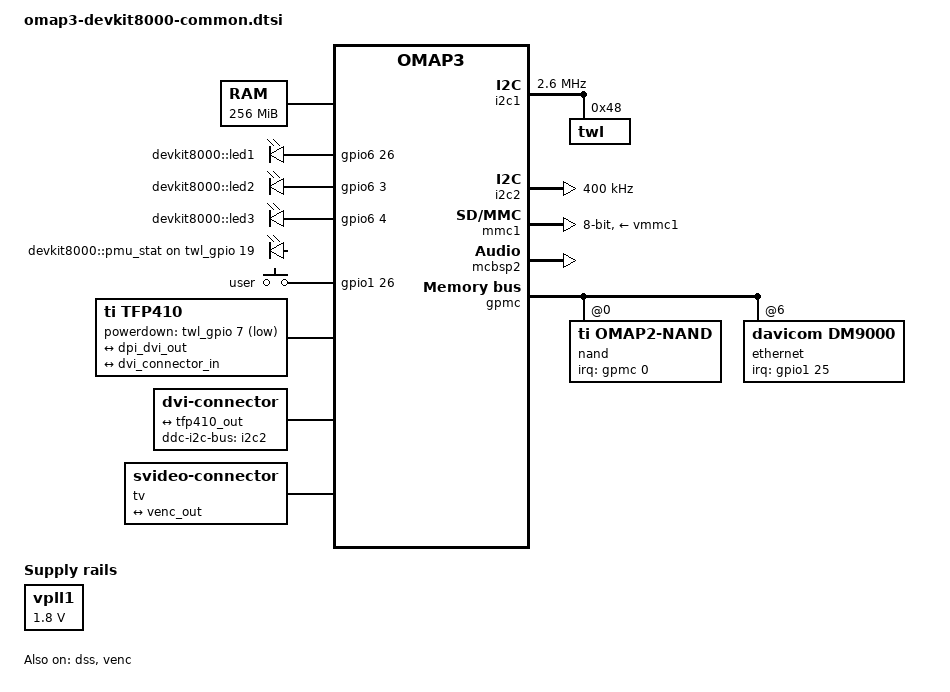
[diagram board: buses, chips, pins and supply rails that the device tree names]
// SPDX-License-Identifier: GPL-2.0-only
/*
 * Author: Anil Kumar <anilk4.v@gmail.com>
 */

#include <dt-bindings/input/input.h>

#include "omap34xx.dtsi"
/ {
	memory@80000000 {
		device_type = "memory";
		reg = <0x80000000 0x10000000>;	/* 256 MB */
	};

	leds {
		compatible = "gpio-leds";

		heartbeat {
			label = "devkit8000::led1";
			gpios = <&gpio6 26 GPIO_ACTIVE_HIGH>;	/* 186 -> LED1 */
			default-state = "on";
			linux,default-trigger = "heartbeat";
		};

		mmc {
			label = "devkit8000::led2";
			gpios = <&gpio6 3 GPIO_ACTIVE_HIGH>;	/* 163 -> LED2 */
			default-state = "on";
			linux,default-trigger = "none";
		};

		usr {
			label = "devkit8000::led3";
			gpios = <&gpio6 4 GPIO_ACTIVE_HIGH>;	/* 164 -> LED3 */
			default-state = "on";
			linux,default-trigger = "usr";
		};

		pmu_stat {
			label = "devkit8000::pmu_stat";
			gpios = <&twl_gpio 19 GPIO_ACTIVE_HIGH>; /* LEDB */
		};
	};

	sound {
		compatible = "ti,omap-twl4030";
		ti,model = "devkit8000";

		ti,mcbsp = <&mcbsp2>;
		ti,audio-routing =
			"Ext Spk", "PREDRIVEL",
			"Ext Spk", "PREDRIVER",
			"MAINMIC", "Main Mic",
			"Main Mic", "Mic Bias 1";
	};

	gpio_keys {
		compatible = "gpio-keys";

		user {
			label = "user";
			gpios = <&gpio1 26 GPIO_ACTIVE_HIGH>;
			linux,code = <BTN_EXTRA>;
			wakeup-source;
		};
	};

	tfp410: encoder0 {
		compatible = "ti,tfp410";
		powerdown-gpios = <&twl_gpio 7 GPIO_ACTIVE_LOW>;

		ports {
			#address-cells = <1>;
			#size-cells = <0>;

			port@0 {
				reg = <0>;

				tfp410_in: endpoint {
					remote-endpoint = <&dpi_dvi_out>;
				};
			};

			port@1 {
				reg = <1>;

				tfp410_out: endpoint {
					remote-endpoint = <&dvi_connector_in>;
				};
			};
		};
	};

	dvi0: connector0 {
		compatible = "dvi-connector";
		label = "dvi";

		digital;

		ddc-i2c-bus = <&i2c2>;

		port {
			dvi_connector_in: endpoint {
				remote-endpoint = <&tfp410_out>;
			};
		};
	};

	tv0: connector1 {
		compatible = "svideo-connector";
		label = "tv";

		port {
			tv_connector_in: endpoint {
				remote-endpoint = <&venc_out>;
			};
		};
	};
};

&i2c1 {
	clock-frequency = <2600000>;

	twl: twl@48 {
		reg = <0x48>;
		interrupts = <7>;	/* SYS_NIRQ cascaded to intc */

		twl_audio: audio {
			compatible = "ti,twl4030-audio";
			codec {
			};
		};
	};
};

&i2c2 {
	clock-frequency = <400000>;
};

&i2c3 {
	status = "disabled";
};

#include "twl4030.dtsi"
#include "twl4030_omap3.dtsi"

&mmc1 {
	vmmc-supply = <&vmmc1>;
	vqmmc-supply = <&vsim>;
	bus-width = <8>;
};

&mmc2 {
	status = "disabled";
};

&mmc3 {
	status = "disabled";
};

&twl_gpio {
	ti,use-leds;
	/*
	 * pulldowns:
	 * BIT(1), BIT(2), BIT(6), BIT(7), BIT(8), BIT(13)
	 * BIT(15), BIT(16), BIT(17)
	 */
	ti,pulldowns = <0x03a1c6>;
};

&twl_keypad {
	linux,keymap = <MATRIX_KEY(0, 0, KEY_1)
			MATRIX_KEY(1, 0, KEY_2)
			MATRIX_KEY(2, 0, KEY_3)
			MATRIX_KEY(0, 1, KEY_4)
			MATRIX_KEY(1, 1, KEY_5)
			MATRIX_KEY(2, 1, KEY_6)
			MATRIX_KEY(3, 1, KEY_F5)
			MATRIX_KEY(0, 2, KEY_7)
			MATRIX_KEY(1, 2, KEY_8)
			MATRIX_KEY(2, 2, KEY_9)
			MATRIX_KEY(3, 2, KEY_F6)
			MATRIX_KEY(0, 3, KEY_F7)
			MATRIX_KEY(1, 3, KEY_0)
			MATRIX_KEY(2, 3, KEY_F8)
			MATRIX_KEY(4, 5, KEY_RESERVED)
			MATRIX_KEY(4, 4, KEY_VOLUMEUP)
			MATRIX_KEY(5, 5, KEY_VOLUMEDOWN)
			>;
};

&wdt2 {
	status = "disabled";
};

&mcbsp2 {
	status = "okay";
};

&gpmc {
	ranges = <0 0 0x30000000 0x1000000	/* CS0: 16MB for NAND */
		  6 0 0x2c000000 0x1000000>;	/* CS6: 16MB for DM9000 */

	nand@0,0 {
		compatible = "ti,omap2-nand";
		reg = <0 0 4>; /* CS0, offset 0, IO size 4 */
		interrupt-parent = <&gpmc>;
		interrupts = <0 IRQ_TYPE_NONE>, /* fifoevent */
			     <1 IRQ_TYPE_NONE>;	/* termcount */
		nand-bus-width = <16>;
		gpmc,device-width = <2>;
		ti,nand-ecc-opt = "sw";

		gpmc,sync-clk-ps = <0>;
		gpmc,cs-on-ns = <0>;
		gpmc,cs-rd-off-ns = <44>;
		gpmc,cs-wr-off-ns = <44>;
		gpmc,adv-on-ns = <6>;
		gpmc,adv-rd-off-ns = <34>;
		gpmc,adv-wr-off-ns = <44>;
		gpmc,we-off-ns = <40>;
		gpmc,oe-off-ns = <54>;
		gpmc,access-ns = <64>;
		gpmc,rd-cycle-ns = <82>;
		gpmc,wr-cycle-ns = <82>;
		gpmc,wr-access-ns = <40>;
		gpmc,wr-data-mux-bus-ns = <0>;

		#address-cells = <1>;
		#size-cells = <1>;

		x-loader@0 {
			label = "X-Loader";
			reg = <0 0x80000>;
		};

		bootloaders@80000 {
			label = "U-Boot";
			reg = <0x80000 0x1e0000>;
		};

		bootloaders_env@260000 {
			label = "U-Boot Env";
			reg = <0x260000 0x20000>;
		};

		kernel@280000 {
			label = "Kernel";
			reg = <0x280000 0x400000>;
		};

		filesystem@680000 {
			label = "File System";
			reg = <0x680000 0xf980000>;
		};
	};

	ethernet@6,0 {
		compatible = "davicom,dm9000";
		reg =  <6 0x000 2
			6 0x400 2>; /* CS6, offset 0 and 0x400, IO size 2 */
		bank-width = <2>;
		interrupt-parent = <&gpio1>;
		interrupts = <25 IRQ_TYPE_LEVEL_LOW>;
		davicom,no-eeprom;

		gpmc,mux-add-data = <0>;
		gpmc,device-width = <1>;
		gpmc,wait-pin = <0>;
		gpmc,cycle2cycle-samecsen = <1>;
		gpmc,cycle2cycle-diffcsen = <1>;

		gpmc,cs-on-ns = <6>;
		gpmc,cs-rd-off-ns = <180>;
		gpmc,cs-wr-off-ns = <180>;
		gpmc,adv-on-ns = <0>;
		gpmc,adv-rd-off-ns = <18>;
		gpmc,adv-wr-off-ns = <48>;
		gpmc,oe-on-ns = <54>;
		gpmc,oe-off-ns = <168>;
		gpmc,we-on-ns = <54>;
		gpmc,we-off-ns = <168>;
		gpmc,rd-cycle-ns = <186>;
		gpmc,wr-cycle-ns = <186>;
		gpmc,access-ns = <144>;
		gpmc,page-burst-access-ns = <24>;
		gpmc,bus-turnaround-ns = <90>;
		gpmc,cycle2cycle-delay-ns = <90>;
		gpmc,wait-monitoring-ns = <0>;
		gpmc,clk-activation-ns = <0>;
		gpmc,wr-data-mux-bus-ns = <0>;
		gpmc,wr-access-ns = <0>;
	};
};

&omap3_pmx_core {
	dss_dpi_pins: pinmux_dss_dpi_pins {
		pinctrl-single,pins = <
			OMAP3_CORE1_IOPAD(0x20d4, PIN_OUTPUT | MUX_MODE0)	/* dss_pclk.dss_pclk */
			OMAP3_CORE1_IOPAD(0x20d6, PIN_OUTPUT | MUX_MODE0)	/* dss_hsync.dss_hsync */
			OMAP3_CORE1_IOPAD(0x20d8, PIN_OUTPUT | MUX_MODE0)	/* dss_vsync.dss_vsync */
			OMAP3_CORE1_IOPAD(0x20da, PIN_OUTPUT | MUX_MODE0)	/* dss_acbias.dss_acbias */
			OMAP3_CORE1_IOPAD(0x20dc, PIN_OUTPUT | MUX_MODE0)	/* dss_data0.dss_data0 */
			OMAP3_CORE1_IOPAD(0x20de, PIN_OUTPUT | MUX_MODE0)	/* dss_data1.dss_data1 */
			OMAP3_CORE1_IOPAD(0x20e0, PIN_OUTPUT | MUX_MODE0)	/* dss_data2.dss_data2 */
			OMAP3_CORE1_IOPAD(0x20e2, PIN_OUTPUT | MUX_MODE0)	/* dss_data3.dss_data3 */
			OMAP3_CORE1_IOPAD(0x20e4, PIN_OUTPUT | MUX_MODE0)	/* dss_data4.dss_data4 */
			OMAP3_CORE1_IOPAD(0x20e6, PIN_OUTPUT | MUX_MODE0)	/* dss_data5.dss_data5 */
			OMAP3_CORE1_IOPAD(0x20e8, PIN_OUTPUT | MUX_MODE0)	/* dss_data6.dss_data6 */
			OMAP3_CORE1_IOPAD(0x20ea, PIN_OUTPUT | MUX_MODE0)	/* dss_data7.dss_data7 */
			OMAP3_CORE1_IOPAD(0x20ec, PIN_OUTPUT | MUX_MODE0)	/* dss_data8.dss_data8 */
			OMAP3_CORE1_IOPAD(0x20ee, PIN_OUTPUT | MUX_MODE0)	/* dss_data9.dss_data9 */
			OMAP3_CORE1_IOPAD(0x20f0, PIN_OUTPUT | MUX_MODE0)	/* dss_data10.dss_data10 */
			OMAP3_CORE1_IOPAD(0x20f2, PIN_OUTPUT | MUX_MODE0)	/* dss_data11.dss_data11 */
			OMAP3_CORE1_IOPAD(0x20f4, PIN_OUTPUT | MUX_MODE0)	/* dss_data12.dss_data12 */
			OMAP3_CORE1_IOPAD(0x20f6, PIN_OUTPUT | MUX_MODE0)	/* dss_data13.dss_data13 */
			OMAP3_CORE1_IOPAD(0x20f8, PIN_OUTPUT | MUX_MODE0)	/* dss_data14.dss_data14 */
			OMAP3_CORE1_IOPAD(0x20fa, PIN_OUTPUT | MUX_MODE0)	/* dss_data15.dss_data15 */
			OMAP3_CORE1_IOPAD(0x20fc, PIN_OUTPUT | MUX_MODE0)	/* dss_data16.dss_data16 */
			OMAP3_CORE1_IOPAD(0x20fe, PIN_OUTPUT | MUX_MODE0)	/* dss_data17.dss_data17 */
			OMAP3_CORE1_IOPAD(0x2100, PIN_OUTPUT | MUX_MODE0)	/* dss_data18.dss_data18 */
			OMAP3_CORE1_IOPAD(0x2102, PIN_OUTPUT | MUX_MODE0)	/* dss_data19.dss_data19 */
			OMAP3_CORE1_IOPAD(0x2104, PIN_OUTPUT | MUX_MODE0)	/* dss_data20.dss_data20 */
			OMAP3_CORE1_IOPAD(0x2106, PIN_OUTPUT | MUX_MODE0)	/* dss_data21.dss_data21 */
			OMAP3_CORE1_IOPAD(0x2108, PIN_OUTPUT | MUX_MODE0)	/* dss_data22.dss_data22 */
			OMAP3_CORE1_IOPAD(0x210a, PIN_OUTPUT | MUX_MODE0)	/* dss_data23.dss_data23 */
		>;
	};
};

&vpll1 {
	/* Needed for DSS */
	regulator-name = "vdds_dsi";

	regulator-min-microvolt = <1800000>;
	regulator-max-microvolt = <1800000>;
};

&dss {
	status = "ok";

	pinctrl-names = "default";
	pinctrl-0 = <&dss_dpi_pins>;

	vdds_dsi-supply = <&vpll1>;
	vdda_dac-supply = <&vdac>;

	port {
		#address-cells = <1>;
		#size-cells = <0>;
		dpi_dvi_out: endpoint@0 {
			reg = <0>;
			remote-endpoint = <&tfp410_in>;
			data-lines = <24>;
		};

		endpoint@1 {
			reg = <1>;
		};
	};
};

&venc {
	status = "ok";

	vdda-supply = <&vdac>;

	port {
		venc_out: endpoint {
			remote-endpoint = <&tv_connector_in>;
			ti,channels = <2>;
		};
	};
};
